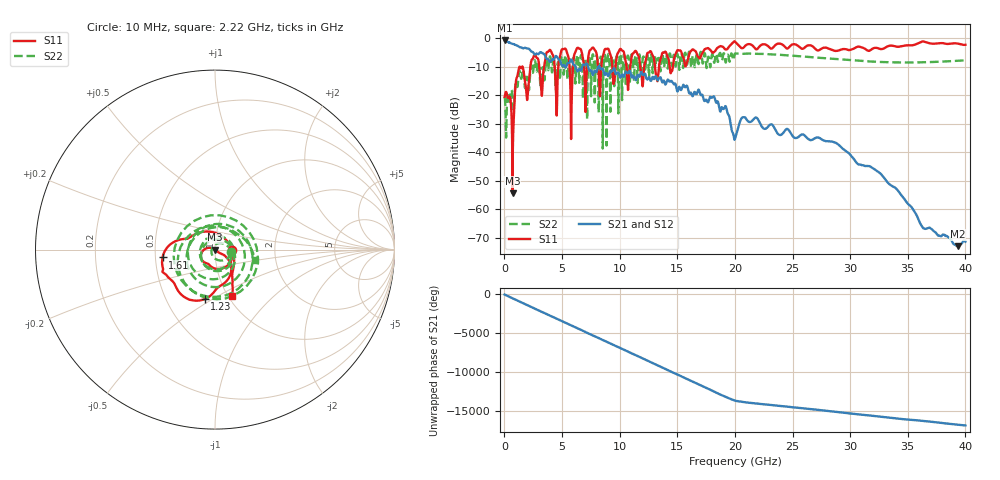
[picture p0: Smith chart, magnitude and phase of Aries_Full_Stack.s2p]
! Created Thu Feb 26 13:04:05 2026
# hz S ma R 100
! 2 Port Network Data from SP1.SP block
! freq  magS11  angS11  magS21  angS21  magS12  angS12  magS22  angS22
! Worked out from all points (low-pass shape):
!   4000 points, 10 MHz to 40 GHz, reference 100 ohm
!   highest |S21| = -0.85 dB at 10 MHz (marker M1); lowest = -73.0 dB at 39.33 GHz (marker M2)
!   |S21| within 3 dB of the highest: start of sweep to 2.144 GHz
!   lowest |S11| = -54.4 dB at 700 MHz (marker M3), VSWR 1.00, Z = 100 - j0.165 ohm
!   |S11| at or under -10 dB: start of sweep to 1.548 GHz; 1.552 GHz to 2.25 GHz (697.5 MHz wide, 36.7 % of centre); 3.016 GHz to 3.441 GHz (425.3 MHz wide, 13.2 % of centre)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
!   |S22| runs from -38.8 to -4.8 dB; largest |S21 - S12| = 0
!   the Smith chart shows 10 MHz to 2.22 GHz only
!   S11 on the Smith chart (normalised r, x): 10 MHz: 1.20, -0.01; 1.23 GHz: 0.77, -0.46; 1.61 GHz: 0.55, -0.05; 2.22 GHz: 1.04, -0.58
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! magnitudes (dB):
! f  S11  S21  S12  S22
! 10 MHz  -20.7  -0.8  -0.8  -20.8
! 700 MHz  -54.4  -2.0  -2.0  -21.0
! 1.23 GHz  -11.0  -3.0  -3.0  -13.1
! 1.61 GHz  -10.6  -3.6  -3.6  -11.2
! 2.22 GHz  -11.2  -4.2  -4.2  -12.8
! 3.25 GHz  -20.1  -5.2  -5.2  -11.0
! 3.91 GHz  -4.2  -8.2  -8.2  -6.9
! 4.53 GHz  -27.2  -6.5  -6.5  -12.5
! 5.18 GHz  -3.8  -9.7  -9.7  -10.4
! 5.8 GHz  -28.6  -7.5  -7.5  -21.5
! 6.68 GHz  -4.6  -11.2  -11.2  -6.4
! 7.03 GHz  -26.0  -9.2  -9.2  -7.9
! 7.62 GHz  -3.4  -12.7  -12.7  -6.4
! 8.26 GHz  -18.8  -10.0  -10.0  -9.6
! 8.86 GHz  -3.9  -12.4  -12.4  -37.7
! 13.34 GHz  -12.8  -14.6  -14.6  -7.3
! 18.11 GHz  -5.1  -20.6  -20.6  -6.6
! 20.01 GHz  -1.3  -35.3  -35.3  -5.4
! 26.67 GHz  -2.7  -35.8  -35.8  -6.7
! 33.34 GHz  -2.8  -51.0  -51.0  -8.5
! 39.33 GHz  -1.9  -73.0  -73.0  -8.0
! 40 GHz  -2.4  -71.5  -71.5  -7.8
